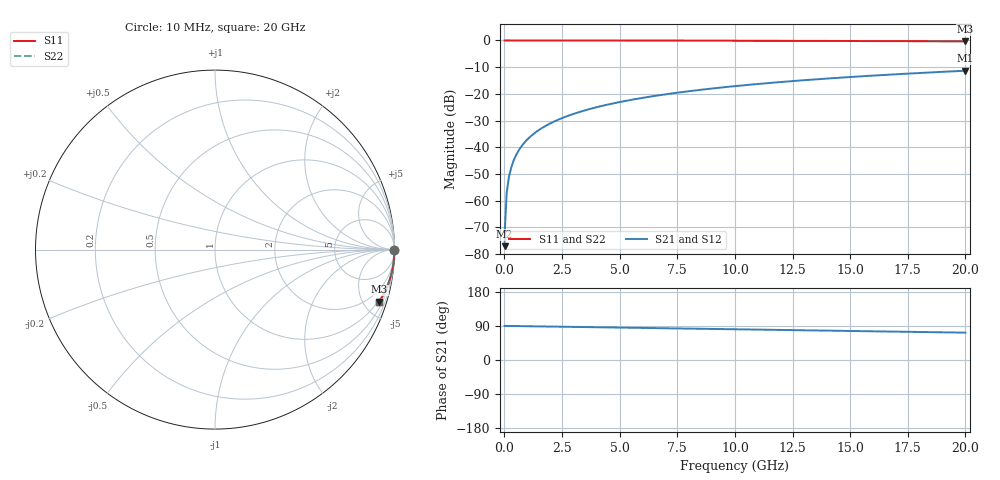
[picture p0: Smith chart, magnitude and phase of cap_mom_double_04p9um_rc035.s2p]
#  GHZ S DB R 50
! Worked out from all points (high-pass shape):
!   202 points, 10 MHz to 20 GHz, reference 50 ohm
!   highest |S21| = -11.34 dB at 20 GHz (marker M1); lowest = -77.1 dB at 10 MHz (marker M2)
!   |S21| within 3 dB of the highest: 13.88 GHz to end of sweep
!   lowest |S11| = -0.3 dB at 20 GHz (marker M3), VSWR 50.41, Z = 41.8 - j318 ohm
!   |S11| at or under -10 dB: nowhere
!   |S22| runs from -0.3 to 0.0 dB; largest |S21 - S12| = 4.6e-14
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0.01  -0.00 -0.0  -77.05 90.0  -77.05 90.0  -0.00 -0.0
0.02  -0.00 -0.0  -71.03 90.0  -71.03 90.0  -0.00 -0.0
0.1  -0.00 -0.1  -57.05 89.9  -57.05 89.9  -0.00 -0.1
0.2  -0.00 -0.2  -51.03 89.8  -51.03 89.8  -0.00 -0.2
0.3  -0.00 -0.3  -47.51 89.7  -47.51 89.7  -0.00 -0.3
0.4  -0.00 -0.4  -45.01 89.7  -45.01 89.7  -0.00 -0.4
0.5  -0.00 -0.5  -43.07 89.6  -43.07 89.6  -0.00 -0.5
0.6  -0.00 -0.5  -41.49 89.5  -41.49 89.5  -0.00 -0.5
0.8  -0.00 -0.7  -38.99 89.3  -38.99 89.3  -0.00 -0.7
1  -0.00 -0.9  -37.05 89.2  -37.05 89.2  -0.00 -0.9
1.3  -0.00 -1.2  -34.77 88.9  -34.77 88.9  -0.00 -1.2
1.6  -0.00 -1.4  -32.96 88.6  -32.96 88.6  -0.00 -1.4
2  -0.00 -1.8  -31.02 88.3  -31.02 88.3  -0.00 -1.8
2.4  -0.01 -2.2  -29.44 87.9  -29.44 87.9  -0.01 -2.2
3.4  -0.01 -3.1  -26.41 87.0  -26.41 87.0  -0.01 -3.1
4.9  -0.02 -4.4  -23.25 85.6  -23.25 85.6  -0.02 -4.4
6.7  -0.04 -6.0  -20.54 84.0  -20.54 84.0  -0.04 -6.0
8.3  -0.06 -7.4  -18.70 82.5  -18.70 82.5  -0.06 -7.5
10.1  -0.09 -9.0  -17.02 80.9  -17.02 80.9  -0.09 -9.0
13.4  -0.16 -11.9  -14.63 78.0  -14.63 78.0  -0.16 -11.9
16.7  -0.24 -14.8  -12.81 75.1  -12.81 75.1  -0.24 -14.8
20  -0.34 -17.6  -11.34 72.2  -11.34 72.2  -0.34 -17.6
